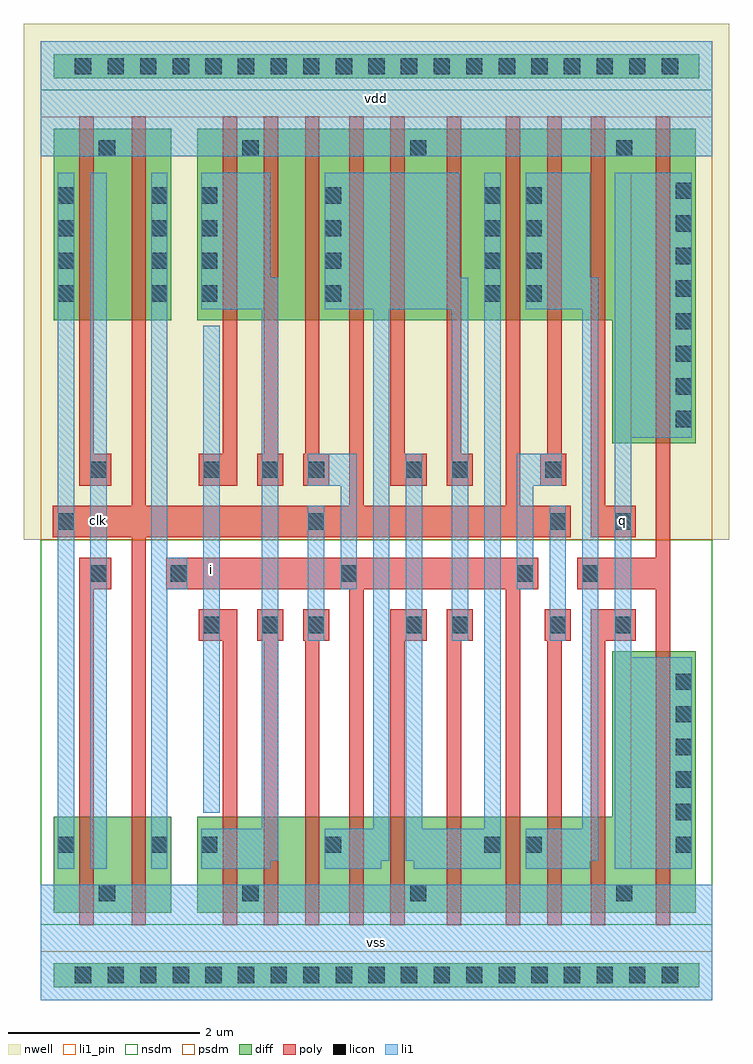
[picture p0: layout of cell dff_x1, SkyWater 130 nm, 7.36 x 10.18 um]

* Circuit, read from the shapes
.subckt dff_x1 clk i q vdd vss
XM1 vss clk n1 VSUBS sky130_fd_pr__nfet_01v8 w=1 l=0.15
XM2 n2 n1 vss VSUBS sky130_fd_pr__nfet_01v8 w=1 l=0.15
XM3 vss i n3 VSUBS sky130_fd_pr__nfet_01v8 w=1 l=0.15
XM4 n4 n3 vss VSUBS sky130_fd_pr__nfet_01v8 w=1 l=0.15
XM5 n5 n1 n4 VSUBS sky130_fd_pr__nfet_01v8 w=1 l=0.15
XM6 n6 n2 n5 VSUBS sky130_fd_pr__nfet_01v8 w=1 l=0.15
XM7 vss n7 n6 VSUBS sky130_fd_pr__nfet_01v8 w=1 l=0.15
XM8 n7 n5 vss VSUBS sky130_fd_pr__nfet_01v8 w=1 l=0.15
XM9 n8 n2 n7 VSUBS sky130_fd_pr__nfet_01v8 w=1 l=0.15
XM10 n9 n1 n8 VSUBS sky130_fd_pr__nfet_01v8 w=1 l=0.15
XM11 vss q n9 VSUBS sky130_fd_pr__nfet_01v8 w=1 l=0.15
XM12 q n8 vss VSUBS sky130_fd_pr__nfet_01v8 w=2.725 l=0.15
XM13 vdd clk n1 n10 sky130_fd_pr__pfet_01v8 w=2 l=0.15
XM14 n2 n1 vdd n10 sky130_fd_pr__pfet_01v8 w=2 l=0.15
XM15 vdd i n3 n10 sky130_fd_pr__pfet_01v8 w=2 l=0.15
XM16 n11 n3 vdd n10 sky130_fd_pr__pfet_01v8 w=2 l=0.15
XM17 n5 n2 n11 n10 sky130_fd_pr__pfet_01v8 w=2 l=0.15
XM18 n12 n1 n5 n10 sky130_fd_pr__pfet_01v8 w=2 l=0.15
XM19 vdd n7 n12 n10 sky130_fd_pr__pfet_01v8 w=2 l=0.15
XM20 n7 n5 vdd n10 sky130_fd_pr__pfet_01v8 w=2 l=0.15
XM21 n8 n1 n7 n10 sky130_fd_pr__pfet_01v8 w=2 l=0.15
XM22 n13 n2 n8 n10 sky130_fd_pr__pfet_01v8 w=2 l=0.15
XM23 vdd q n13 n10 sky130_fd_pr__pfet_01v8 w=2 l=0.15
XM24 q n8 vdd n10 sky130_fd_pr__pfet_01v8 w=3.285 l=0.15
.ends

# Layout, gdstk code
import gdstk
lib = gdstk.Library(unit=1e-6, precision=1e-09)
def R(c, l, rs):  # rectangles x0, y0, x1, y1
    for r in rs: c.add(gdstk.rectangle(r[:2], r[2:], *l))
def A(c, l, x, y, w, h, nx, ny, dx, dy):  # array of equal rectangles
    R(c, l, [(x+i*dx, y+j*dy, x+i*dx+w, y+j*dy+h) for i in range(nx) for j in range(ny)])
def P(c, l, *ps):  # polygons
    for p in ps: c.add(gdstk.Polygon(p, *l))
nwell = (64, 20)
diff = (65, 20)
poly = (66, 20)
licon = (66, 44)
li1_pin = (67, 16)
li1 = (67, 20)
nsdm = (93, 44)
psdm = (94, 20)

dff_x1 = lib.new_cell('dff_x1')
R(dff_x1, nwell, [(-0.18,4.8,7.18,10.18)])
R(dff_x1, diff, [(0.135,0.135,6.865,0.385), (0.135,0.91,1.36,1.91), (0.135,7.09,1.36,9.09), (0.135,9.615,6.865,9.865)])
P(dff_x1, diff, [(5.96,5.805),(5.96,7.09),(1.63,7.09),(1.63,9.09),(6.83,9.09),(6.83,5.805)],
  [(1.63,0.91),(1.63,1.91),(5.96,1.91),(5.96,3.635),(6.83,3.635),(6.83,0.91)])
P(dff_x1, poly, [(0.945,0.78),(0.945,4.825),(0.125,4.825),(0.125,5.155),(0.945,5.155),(0.945,9.22),(1.095,9.22),(1.095,5.155),(3.215,5.155),(3.215,9.22),(3.365,9.22),(3.365,5.155),(4.85,5.155),(4.85,9.22),(5,9.22),(5,5.155),(5.525,5.155),(5.525,4.825),(1.095,4.825),(1.095,0.78)],
  [(2.755,0.78),(2.755,3.745),(2.735,3.745),(2.735,4.075),(3.005,4.075),(3.005,3.745),(2.905,3.745),(2.905,0.78)],
  [(5.28,0.78),(5.28,3.745),(5.255,3.745),(5.255,4.075),(5.525,4.075),(5.525,3.745),(5.43,3.745),(5.43,0.78)],
  [(0.4,0.78),(0.4,4.615),(0.735,4.615),(0.735,4.285),(0.55,4.285),(0.55,0.78)],
  [(0.4,5.365),(0.4,9.22),(0.55,9.22),(0.55,5.695),(0.735,5.695),(0.735,5.365)],
  [(2.735,5.365),(2.735,5.695),(2.755,5.695),(2.755,9.22),(2.905,9.22),(2.905,5.695),(3.005,5.695),(3.005,5.365)],
  [(3.215,0.78),(3.215,4.285),(1.305,4.285),(1.305,4.615),(5.185,4.615),(5.185,4.285),(5,4.285),(5,0.78),(4.85,0.78),(4.85,4.285),(3.365,4.285),(3.365,0.78)],
  [(5.21,5.365),(5.21,5.695),(5.28,5.695),(5.28,9.22),(5.43,9.22),(5.43,5.695),(5.48,5.695),(5.48,5.365)],
  [(2.325,0.78),(2.325,3.745),(2.255,3.745),(2.255,4.075),(2.525,4.075),(2.525,3.745),(2.475,3.745),(2.475,0.78)],
  [(2.255,5.365),(2.255,5.695),(2.325,5.695),(2.325,9.22),(2.475,9.22),(2.475,5.695),(2.525,5.695),(2.525,5.365)],
  [(1.645,5.365),(1.645,5.695),(1.895,5.695),(1.895,9.22),(2.045,9.22),(2.045,5.365)],
  [(1.895,0.78),(1.895,3.745),(1.645,3.745),(1.645,4.075),(2.045,4.075),(2.045,0.78)],
  [(4.235,0.78),(4.235,4.075),(4.505,4.075),(4.505,3.745),(4.385,3.745),(4.385,0.78)],
  [(4.235,5.365),(4.235,9.22),(4.385,9.22),(4.385,5.695),(4.505,5.695),(4.505,5.365)],
  [(3.645,5.365),(3.645,9.22),(3.795,9.22),(3.795,5.695),(4.025,5.695),(4.025,5.365)],
  [(3.645,0.78),(3.645,4.075),(4.025,4.075),(4.025,3.745),(3.795,3.745),(3.795,0.78)],
  [(6.415,0.78),(6.415,4.285),(5.595,4.285),(5.595,4.615),(6.415,4.615),(6.415,9.22),(6.565,9.22),(6.565,0.78)],
  [(5.735,4.825),(5.735,9.22),(5.885,9.22),(5.885,5.155),(6.205,5.155),(6.205,4.825)],
  [(5.735,0.78),(5.735,4.075),(6.205,4.075),(6.205,3.745),(5.885,3.745),(5.885,0.78)])
A(dff_x1, licon, 0.355, 0.175, 0.17, 0.17, 19, 2, 0.34, 9.48)
A(dff_x1, licon, 6.62, 1.535, 0.17, 0.17, 1, 6, 0, 0.34)
A(dff_x1, licon, 6.62, 5.975, 0.17, 0.17, 1, 8, 0, 0.34)
A(dff_x1, licon, 0.175, 7.285, 0.17, 0.17, 1, 4, 0, 0.34)
A(dff_x1, licon, 1.15, 7.285, 0.17, 0.17, 1, 4, 0, 0.34)
A(dff_x1, licon, 1.67, 7.285, 0.17, 0.17, 1, 4, 0, 0.34)
A(dff_x1, licon, 2.96, 7.285, 0.17, 0.17, 1, 4, 0, 0.34)
A(dff_x1, licon, 4.625, 7.285, 0.17, 0.17, 1, 4, 0, 0.34)
A(dff_x1, licon, 5.055, 7.285, 0.17, 0.17, 1, 4, 0, 0.34)
R(dff_x1, licon, [(0.605,1.03,0.775,1.2), (2.1,1.03,2.27,1.2), (3.85,1.03,4.02,1.2), (6,1.03,6.17,1.2), (0.175,1.535,0.345,1.705), (1.15,1.535,1.32,1.705), (1.67,1.535,1.84,1.705), (2.96,1.535,3.13,1.705), (4.625,1.535,4.795,1.705), (5.055,1.535,5.225,1.705), (1.695,3.825,1.865,3.995), (2.305,3.825,2.475,3.995), (2.785,3.825,2.955,3.995), (3.805,3.825,3.975,3.995), (4.285,3.825,4.455,3.995), (5.305,3.825,5.475,3.995), (5.985,3.825,6.155,3.995), (0.515,4.365,0.685,4.535), (1.355,4.365,1.525,4.535), (3.125,4.365,3.295,4.535), (4.965,4.365,5.135,4.535), (5.645,4.365,5.815,4.535), (0.175,4.905,0.345,5.075), (2.785,4.905,2.955,5.075), (5.305,4.905,5.475,5.075), (5.985,4.905,6.155,5.075), (0.515,5.445,0.685,5.615), (1.695,5.445,1.865,5.615), (2.305,5.445,2.475,5.615), (2.785,5.445,2.955,5.615), (3.805,5.445,3.975,5.615), (4.285,5.445,4.455,5.615), (5.26,5.445,5.43,5.615), (0.605,8.8,0.775,8.97), (2.1,8.8,2.27,8.97), (3.85,8.8,4.02,8.97), (6,8.8,6.17,8.97)])
R(dff_x1, li1_pin, [(0,0,7,1.2), (0.515,1.37,0.685,8.63), (5.985,1.37,6.155,8.63), (1.695,1.955,1.865,7.035), (0,8.8,7,10)])
R(dff_x1, li1, [(0,0,7,1.2), (0.175,1.37,0.345,8.63), (0.515,1.37,0.685,8.63), (1.695,1.955,1.865,7.035), (2.785,3.745,2.955,5.155), (5.305,3.745,5.475,5.155), (0,8.8,7,10)])
P(dff_x1, li1, [(1.15,1.37),(1.15,8.63),(1.32,8.63),(1.32,4.615),(1.525,4.615),(1.525,4.285),(1.32,4.285),(1.32,1.37)],
  [(4.965,4.285),(4.965,5.695),(5.43,5.695),(5.43,5.365),(5.135,5.365),(5.135,4.285)],
  [(3.125,4.285),(3.125,5.365),(2.785,5.365),(2.785,5.695),(3.295,5.695),(3.295,4.285)],
  [(1.67,1.37),(1.67,1.785),(2.305,1.785),(2.305,7.205),(1.67,7.205),(1.67,8.63),(2.39,8.63),(2.39,7.535),(2.475,7.535),(2.475,1.455),(2.39,1.455),(2.39,1.37)],
  [(2.96,1.37),(2.96,1.785),(3.465,1.785),(3.465,7.205),(2.96,7.205),(2.96,8.63),(4.37,8.63),(4.37,7.535),(4.455,7.535),(4.455,3.745),(4.285,3.745),(4.285,7.205),(3.635,7.205),(3.635,1.455),(3.55,1.455),(3.55,1.37)],
  [(3.89,1.37),(3.89,1.455),(3.805,1.455),(3.805,5.695),(3.975,5.695),(3.975,1.785),(4.625,1.785),(4.625,8.63),(4.795,8.63),(4.795,1.37)],
  [(5.055,1.37),(5.055,1.785),(5.645,1.785),(5.645,7.205),(5.055,7.205),(5.055,8.63),(5.73,8.63),(5.73,7.535),(5.815,7.535),(5.815,1.455),(5.73,1.455),(5.73,1.37)],
  [(5.985,1.37),(5.985,8.63),(6.79,8.63),(6.79,5.865),(6.155,5.865),(6.155,3.575),(6.79,3.575),(6.79,1.37)])
R(dff_x1, nsdm, [(0,0.785,7,4.8), (0,9.49,7,10)])
R(dff_x1, psdm, [(0,0,7,0.51), (0,4.8,7,9.215)])
dff_x1.add(gdstk.Label('vdd', (3.5,9.4), layer=67, texttype=16))
dff_x1.add(gdstk.Label('vss', (3.5,0.6), layer=67, texttype=16))
dff_x1.add(gdstk.Label('clk', (0.6,5), layer=67, texttype=16))
dff_x1.add(gdstk.Label('i', (1.78,4.495), layer=67, texttype=16))
dff_x1.add(gdstk.Label('q', (6.07,5), layer=67, texttype=16))

lib.write_gds('dff_x1.gds')
